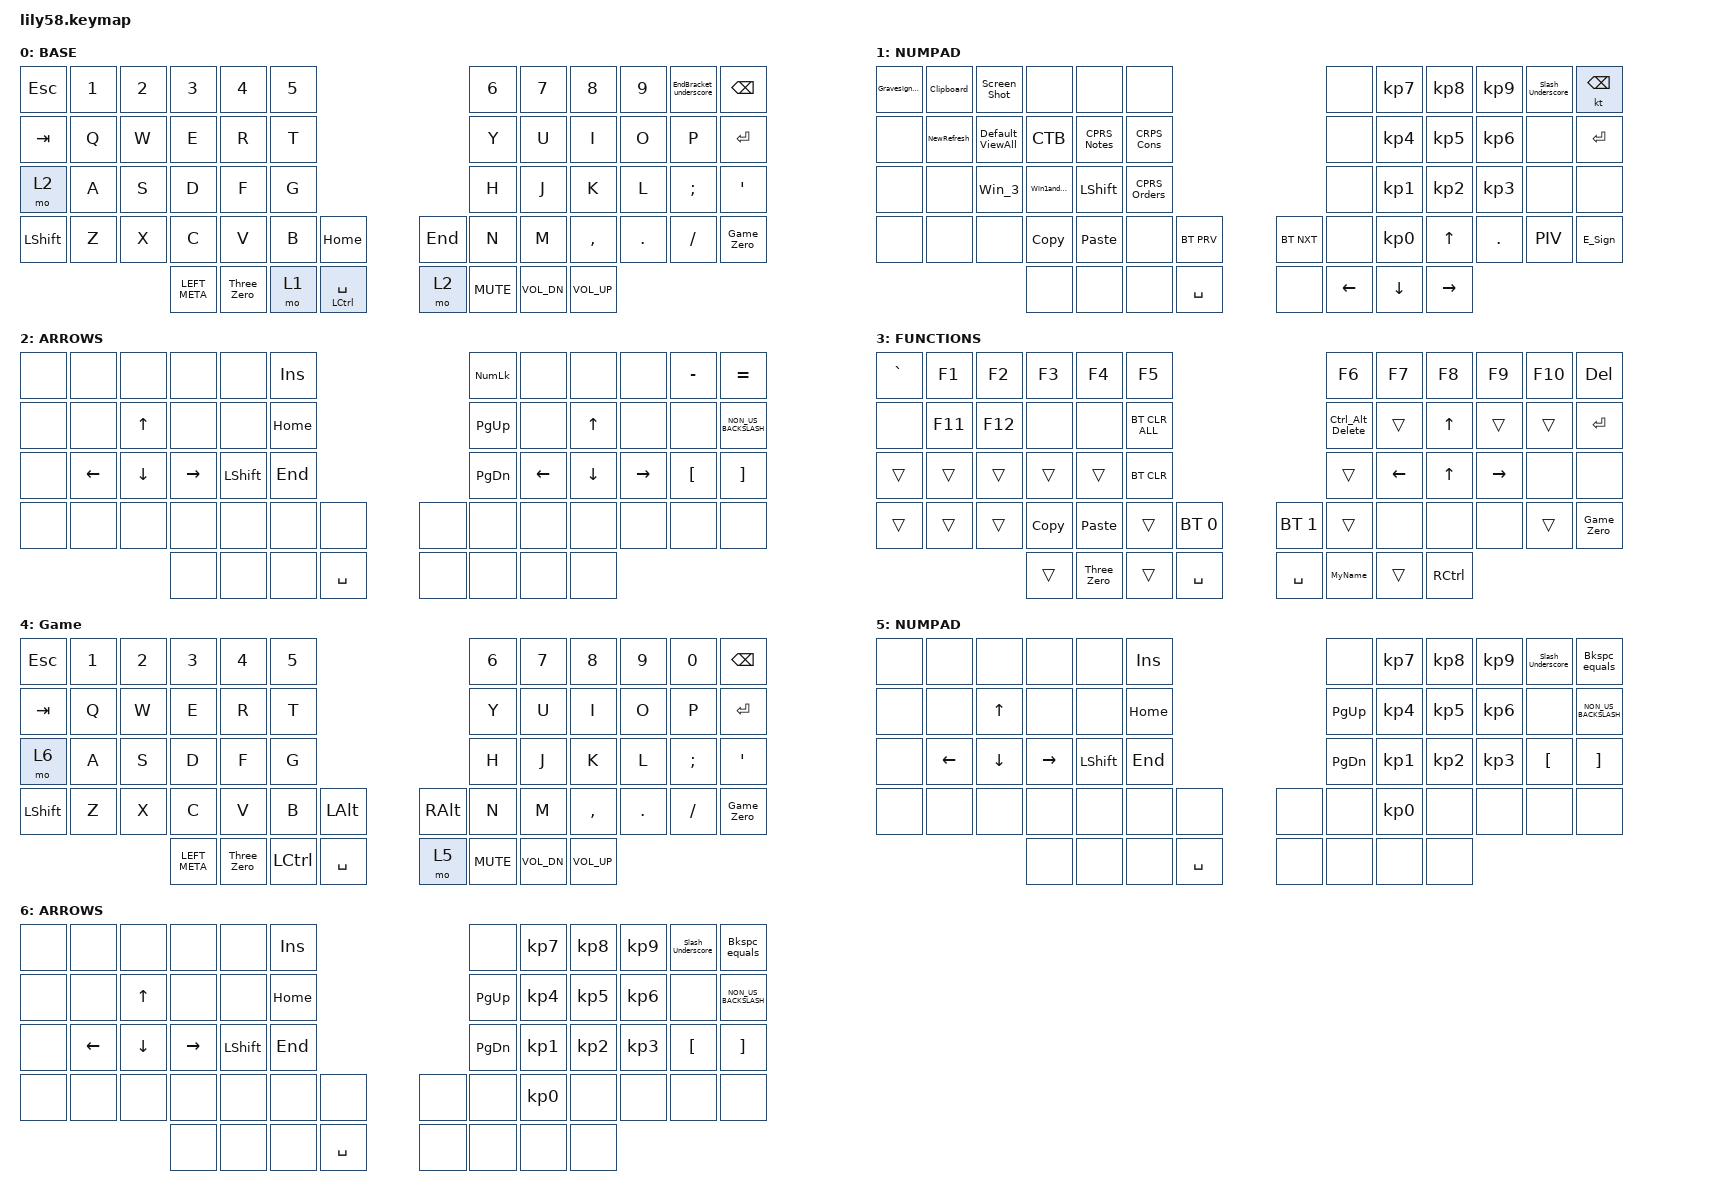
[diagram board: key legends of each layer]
/*
 * Copyright (c) 2020 The ZMK Contributors
 *
 * SPDX-License-Identifier: MIT
 */

#include <behaviors.dtsi>
#include <dt-bindings/zmk/bt.h>
#include <dt-bindings/zmk/keys.h>

/ {
    behaviors {
        Spaces_Ctrl: Spaces_Ctrl {
            compatible = "zmk,behavior-hold-tap";
            label = "SPACES_CTRL";
            bindings = <&kp>, <&kp>;

            #binding-cells = <2>;
            tapping-term-ms = <300>;
            flavor = "tap-preferred";
        };

        Gravesigntilde: Gravesigntilde {
            compatible = "zmk,behavior-tap-dance";
            label = "GRAVESIGNTILDE";
            #binding-cells = <0>;
            bindings = <&kp GRAVE>, <&kp TILDE>;
        };

        New_Refresh: New_Refresh {
            compatible = "zmk,behavior-tap-dance";
            label = "NEW_REFRESH";
            #binding-cells = <0>;
            bindings = <&NewPatient>, <&Refresh>;
        };

        Default_ViewAll: Default_ViewAll {
            compatible = "zmk,behavior-tap-dance";
            label = "DEFAULT_VIEWALL";
            #binding-cells = <0>;
            bindings = <&ViewAll>, <&DefaultView>;
        };

        CTB: CTB {
            compatible = "zmk,behavior-tap-dance";
            label = "CTB";
            #binding-cells = <0>;
            bindings = <&CPRS_CTB>, <&CTM_Comments>;
        };

        Notes_Orders: Notes_Orders {
            compatible = "zmk,behavior-tap-dance";
            label = "NOTES_ORDERS";
            #binding-cells = <0>;
            bindings = <&CPRS_Notes>, <&none>, <&CPRS_Orders>;
        };

        Win1andWin2: Win1andWin2 {
            compatible = "zmk,behavior-tap-dance";
            label = "WIN1ANDWIN2";
            #binding-cells = <0>;
            bindings = <&Win_1>, <&Win_2>;
        };

        Game_Zero: Game_Zero {
            compatible = "zmk,behavior-tap-dance";
            label = "GAME_ZERO";
            #binding-cells = <0>;
            bindings = <&to 0>, <&to 4>;
        };

        Three_Zero: Three_Zero {
            compatible = "zmk,behavior-tap-dance";
            label = "THREE_ZERO";
            #binding-cells = <0>;
            bindings = <&to 0>, <&to 3>;
        };

        NewRefresh: NewRefresh {
            compatible = "zmk,behavior-tap-dance";
            label = "NEWREFRESH";
            #binding-cells = <0>;
            bindings = <&NewPatient>, <&CRPS_Refresh>;
        };

        Slash_Underscore: Slash_Underscore {
            compatible = "zmk,behavior-tap-dance";
            label = "SLASH_UNDERSCORE";
            #binding-cells = <0>;
            bindings = <&kp SLASH>, <&kp MINUS>;
        };

        EndBracket_underscore: EndBracket_underscore {
            compatible = "zmk,behavior-tap-dance";
            label = "ENDBRACKET_UNDERSCORE";
            #binding-cells = <0>;
            bindings = <&kp N0>, <&kp MINUS>;
        };

        Bkspc_equals: Bkspc_equals {
            compatible = "zmk,behavior-tap-dance";
            label = "BKSPC_EQUALS";
            #binding-cells = <0>;
            bindings = <&kp BACKSPACE>, <&kp EQUAL>;
        };
    };

    combos {
        compatible = "zmk,combos";

        Refresh {
            bindings = <&kp F5>;
            key-positions = <4 5>;
        };

        Inventory {
            bindings = <&kp I>;
            key-positions = <28 29>;
        };

        Map {
            bindings = <&kp M>;
            key-positions = <40 41>;
        };

        F_one {
            bindings = <&kp F1>;
            key-positions = <1 2 3>;
        };

        Mute {
            bindings = <&kp C_MUTE>;
            key-positions = <56 57>;
        };

        FTwo {
            bindings = <&kp F2>;
            key-positions = <1 2>;
        };

        FThree {
            bindings = <&kp F2>;
            key-positions = <2 3>;
        };

        FFour {
            bindings = <&kp F4>;
            key-positions = <3 4>;
        };

        j {
            bindings = <&kp J>;
            key-positions = <16 17>;
        };
    };

    macros {
        Clipboard: Clipboard {
            compatible = "zmk,behavior-macro";
            #binding-cells = <0>;
            bindings =
                <&macro_press>,
                <&kp LEFT_WIN &kp V>,
                <&macro_release>,
                <&kp LEFT_WIN &kp V>;

            label = "CLIPBOARD";
        };

        NewPatient: NewPatient {
            compatible = "zmk,behavior-macro";
            #binding-cells = <0>;
            bindings =
                <&macro_press>,
                <&kp LEFT_ALT &kp F>,
                <&macro_release>,
                <&kp LEFT_ALT &kp F>,
                <&macro_press>,
                <&kp N>,
                <&macro_release>,
                <&kp N>;

            label = "NEWPATIENT";
        };

        Refresh: Refresh {
            compatible = "zmk,behavior-macro";
            #binding-cells = <0>;
            bindings =
                <&macro_press>,
                <&kp LEFT_ALT &kp F>,
                <&macro_release>,
                <&kp LEFT_ALT &kp F>,
                <&macro_tap>,
                <&kp I>;

            label = "REFRESH";
        };

        ViewAll: ViewAll {
            compatible = "zmk,behavior-macro";
            #binding-cells = <0>;
            bindings =
                <&macro_press>,
                <&kp LEFT_ALT &kp V>,
                <&macro_release>,
                <&kp LEFT_ALT &kp V>,
                <&macro_press>,
                <&kp A>,
                <&macro_release>,
                <&kp A>;

            label = "VIEWALL";
        };

        DefaultView: DefaultView {
            compatible = "zmk,behavior-macro";
            #binding-cells = <0>;
            bindings =
                <&macro_press>,
                <&kp LEFT_ALT &kp V>,
                <&macro_release>,
                <&kp LEFT_ALT &kp V>,
                <&macro_press>,
                <&kp F>,
                <&macro_release>,
                <&kp F>;

            label = "DEFAULTVIEW";
        };

        CPRS_CTB: CPRS_CTB {
            compatible = "zmk,behavior-macro";
            #binding-cells = <0>;
            bindings =
                <&macro_press>,
                <&kp LEFT_ALT &kp A>,
                <&macro_release>,
                <&kp LEFT_ALT &kp A>,
                <&macro_press>,
                <&kp C>,
                <&macro_release>,
                <&kp C>,
                <&macro_press>,
                <&kp A>,
                <&macro_release>,
                <&kp A>;

            label = "CPRS_CTB";
        };

        CTM_Comments: CTM_Comments {
            compatible = "zmk,behavior-macro";
            #binding-cells = <0>;
            bindings =
                <&macro_press>,
                <&kp LEFT_ALT &kp KP_NUMBER_1>,
                <&macro_release>,
                <&kp LEFT_ALT &kp KP_NUMBER_1>;

            label = "CTM_COMMENTS";
        };

        PIV: PIV {
            compatible = "zmk,behavior-macro";
            #binding-cells = <0>;
            bindings = <&kp N2 &kp N2 &kp N9 &kp N9 &kp N6 &kp N9>;
            label = "PIV";
        };

        E_Sign: E_Sign {
            compatible = "zmk,behavior-macro";
            #binding-cells = <0>;
            bindings = <&kp LS(C) &kp LS(V) &kp LS(A) &kp LS(L) &kp LS(D) &kp LS(E) &kp LS(Z) &kp N1>;
            label = "E_SIGN";
        };

        CPRS_Notes: CPRS_Notes {
            compatible = "zmk,behavior-macro";
            #binding-cells = <0>;
            bindings =
                <&macro_press>,
                <&kp LCTRL &kp N>,
                <&macro_release>,
                <&kp LCTRL &kp N>;

            label = "CPRS_NOTES";
        };

        CRPS_Cons: CRPS_Cons {
            compatible = "zmk,behavior-macro";
            #binding-cells = <0>;
            bindings =
                <&macro_press>,
                <&kp LCTRL &kp T>,
                <&macro_release>,
                <&kp LCTRL &kp T>;

            label = "CRPS_CONS";
        };

        CPRS_Orders: CPRS_Orders {
            compatible = "zmk,behavior-macro";
            #binding-cells = <0>;
            bindings =
                <&macro_press>,
                <&kp LCTRL &kp O>,
                <&macro_release>,
                <&kp LCTRL &kp O>;

            label = "CPRS_ORDERS";
        };

        Win_1: Win_1 {
            compatible = "zmk,behavior-macro";
            #binding-cells = <0>;
            bindings =
                <&macro_press>,
                <&kp LEFT_WIN &kp NUMBER_1>,
                <&macro_release>,
                <&kp LEFT_WIN &kp NUMBER_1>;

            label = "WIN_1";
        };

        Win_2: Win_2 {
            compatible = "zmk,behavior-macro";
            #binding-cells = <0>;
            bindings =
                <&macro_press>,
                <&kp LEFT_WIN &kp NUMBER_2>,
                <&macro_release>,
                <&kp LEFT_WIN &kp NUMBER_2>;

            label = "WIN_2";
        };

        CRPS_Refresh: CRPS_Refresh {
            compatible = "zmk,behavior-macro";
            #binding-cells = <0>;
            bindings =
                <&macro_press>,
                <&kp LEFT_ALT &kp F>,
                <&macro_release>,
                <&kp LEFT_ALT &kp F>,
                <&macro_tap>,
                <&kp I>,
                <&macro_release>,
                <&kp I>;

            label = "CRPS_REFRESH";
        };

        MyName: MyName {
            compatible = "zmk,behavior-macro";
            #binding-cells = <0>;
            bindings = <&kp LS(C) &kp H &kp R &kp I &kp S>;
            label = "MYNAME";
        };

        Copy: Copy {
            compatible = "zmk,behavior-macro";
            #binding-cells = <0>;
            bindings =
                <&macro_press>,
                <&kp LCTRL &kp C>,
                <&macro_release>,
                <&kp LCTRL &kp C>;

            label = "COPY";
        };

        Paste: Paste {
            compatible = "zmk,behavior-macro";
            #binding-cells = <0>;
            bindings =
                <&macro_press>,
                <&kp LCTRL &kp V>,
                <&macro_release>,
                <&kp LCTRL &kp V>;

            label = "PASTE";
        };

        Ctrl_Alt_Delete: Ctrl_Alt_Delete {
            compatible = "zmk,behavior-macro";
            #binding-cells = <0>;
            bindings =
                <&macro_press>,
                <&kp LCTRL &kp LEFT_ALT &kp DELETE>,
                <&macro_release>,
                <&kp LCTRL &kp LEFT_ALT &kp DELETE>;

            label = "CTRL_ALT_DELETE";
        };

        Screen_Shot: Screen_Shot {
            compatible = "zmk,behavior-macro";
            #binding-cells = <0>;
            bindings =
                <&macro_press>,
                <&kp LEFT_WIN &kp LEFT_SHIFT &kp S>,
                <&macro_release>,
                <&kp LEFT_WIN &kp LEFT_SHIFT &kp S>;

            label = "SCREEN_SHOT";
        };

        Win_3: Win_3 {
            compatible = "zmk,behavior-macro";
            #binding-cells = <0>;
            bindings =
                <&macro_press>,
                <&kp LEFT_WIN &kp NUMBER_3>,
                <&macro_release>,
                <&kp LEFT_WIN &kp NUMBER_3>;

            label = "WIN_3";
        };
    };

    keymap {
        compatible = "zmk,keymap";

        Zero {
            // ------------------------------------------------------------------------------------------------------------
            // |  ESC  |  1  |  2  |  3   |  4   |  5   |                   |  6   |  7    |  8    |  9   |   0   |   `   |
            // |  TAB  |  Q  |  W  |  E   |  R   |  T   |                   |  Y   |  U    |  I    |  O   |   P   |   -   |
            // |  CTRL |  A  |  S  |  D   |  F   |  G   |                   |  H   |  J    |  K    |  L   |   ;   |   '   |
            // | SHIFT |  Z  |  X  |  C   |  V   |  B   |   "["  |  |  "]"  |  N   |  M    |  ,    |  .   |   /   | SHIFT |
            //                     | ALT  | GUI  | LOWER|  SPACE |  | ENTER | RAISE| BSPC  | GUI   |

            display-name = "BASE";
            bindings = <
&kp ESC    &kp N1  &kp N2  &kp N3         &kp N4       &kp N5                                       &kp N6      &kp N7        &kp N8           &kp N9   &EndBracket_underscore  &kp BACKSPACE
&kp TAB    &kp Q   &kp W   &kp E          &kp R        &kp T                                        &kp Y       &kp U         &kp I            &kp O    &kp P                   &kp ENTER
&mo 2      &kp A   &kp S   &kp D          &kp F        &kp G                                        &kp H       &kp J         &kp K            &kp L    &kp SEMI                &kp SQT
&kp LSHFT  &kp Z   &kp X   &kp C          &kp V        &kp B   &kp HOME                    &kp END  &kp N       &kp M         &kp COMMA        &kp DOT  &kp FSLH                &Game_Zero
                           &kp LEFT_META  &Three_Zero  &mo 1   &Spaces_Ctrl LCTRL SPACE    &mo 2    &kp C_MUTE  &kp C_VOL_DN  &kp C_VOLUME_UP
            >;
        };

        One {
            // ------------------------------------------------------------------------------------------------------------
            // | BTCLR | BT1 | BT2 |  BT3 |  BT4 |  BT5 |                   |      |       |       |      |       |       |
            // |  F1   |  F2 |  F3 |  F4  |  F5  |  F6  |                   |  F7  |  F8   |  F9   |  F10 |  F11  |  F12  |
            // |   `   |  !  |  @  |  #   |  $   |  %   |                   |  ^   |  &    |  *    |  (   |   )   |   ~   |
            // |       |     |     |      |      |      |        |  |       |      |  _    |  +    |  {   |   }   |  "|"  |
            //                     |      |      |      |        |  |       |      |       |       |

            display-name = "NUMPAD";
            bindings = <
&Gravesigntilde  &Clipboard   &Screen_Shot      &none         &none           &none                                   &none           &kp KP_NUMBER_7  &kp KP_NUMBER_8  &kp KP_NUMBER_9  &Slash_Underscore  &kt BACKSPACE
&none            &NewRefresh  &Default_ViewAll  &CTB          &CPRS_Notes     &CRPS_Cons                              &none           &kp KP_NUMBER_4  &kp KP_NUMBER_5  &kp KP_NUMBER_6  &none              &kp ENTER
&none            &none        &Win_3            &Win1andWin2  &kp LEFT_SHIFT  &CPRS_Orders                            &none           &kp KP_NUMBER_1  &kp KP_NUMBER_2  &kp KP_NUMBER_3  &none              &none
&none            &none        &none             &Copy         &Paste          &none         &bt BT_PRV    &bt BT_NXT  &none           &kp KP_NUMBER_0  &kp UP_ARROW     &kp PERIOD       &PIV               &E_Sign
                                                &none         &none           &none         &kp SPACE     &none       &kp LEFT_ARROW  &kp DOWN         &kp RIGHT
            >;
        };

        Two {
            // ------------------------------------------------------------------------------------------------------------
            // |       |     |     |      |      |      |                   |      |       |       |      |       |       |
            // |   `   |  1  |  2  |  3   |  4   |  5   |                   |  6   |   7   |   8   |  9   |   0   |       |
            // |   F1  |  F2 |  F3 |  F4  |  F5  |  F6  |                   |      |   <-  |   v   |  ^   |  ->   |       |
            // |   F7  |  F8 |  F9 |  F10 |  F11 |  F12 |        |  |       |  +   |   -   |   =   |  [   |   ]   |   \   |
            //                     |      |      |      |        |  |       |      |       |       |

            display-name = "ARROWS";
            bindings = <
&none  &none     &none           &none      &none           &kp INSERT                      &kp KP_NUMLOCK  &none     &none           &none      &kp MINUS         &kp EQUAL
&none  &none     &kp UP_ARROW    &none      &none           &kp HOME                        &kp PG_UP       &none     &kp UP_ARROW    &none      &none             &kp NON_US_BACKSLASH
&none  &kp LEFT  &kp DOWN_ARROW  &kp RIGHT  &kp LEFT_SHIFT  &kp END                         &kp PAGE_DOWN   &kp LEFT  &kp DOWN_ARROW  &kp RIGHT  &kp LEFT_BRACKET  &kp RIGHT_BRACKET
&none  &none     &none           &none      &none           &none       &none        &none  &none           &none     &none           &none      &none             &none
                                 &none      &none           &none       &kp SPACE    &none  &none           &none     &none
            >;
        };

        Three {
            display-name = "FUNCTIONS";
            bindings = <
&kp GRAVE  &kp F1   &kp F2   &kp F3  &kp F4       &kp F5                                        &kp F6            &kp F7    &kp F8        &kp F9     &kp F10  &kp DELETE
&none      &kp F11  &kp F12  &none   &none        &bt BT_CLR_ALL                                &Ctrl_Alt_Delete  &trans    &kp UP        &trans     &trans   &kp ENTER
&trans     &trans   &trans   &trans  &trans       &bt BT_CLR                                    &trans            &kp LEFT  &kp UP_ARROW  &kp RIGHT  &none    &none
&trans     &trans   &trans   &Copy   &Paste       &trans          &bt BT_SEL 0    &bt BT_SEL 1  &trans            &none     &none         &none      &trans   &Game_Zero
                             &trans  &Three_Zero  &trans          &kp SPACE       &kp SPACE     &MyName           &trans    &kp RCTRL
            >;
        };

        Four {
            display-name = "Game";
            bindings = <
&kp ESC    &kp N1  &kp N2  &kp N3         &kp N4       &kp N5                                    &kp N6      &kp N7        &kp N8           &kp N9   &kp N0    &kp BACKSPACE
&kp TAB    &kp Q   &kp W   &kp E          &kp R        &kp T                                     &kp Y       &kp U         &kp I            &kp O    &kp P     &kp ENTER
&mo 6      &kp A   &kp S   &kp D          &kp F        &kp G                                     &kp H       &kp J         &kp K            &kp L    &kp SEMI  &kp SQT
&kp LSHFT  &kp Z   &kp X   &kp C          &kp V        &kp B      &kp LEFT_ALT    &kp RIGHT_ALT  &kp N       &kp M         &kp COMMA        &kp DOT  &kp FSLH  &Game_Zero
                           &kp LEFT_META  &Three_Zero  &kp LCTRL  &kp SPACE       &mo 5          &kp C_MUTE  &kp C_VOL_DN  &kp C_VOLUME_UP
            >;
        };

        Five {
            display-name = "NUMPAD";
            bindings = <
&none  &none     &none           &none      &none           &kp INSERT                      &none          &kp KP_NUMBER_7  &kp KP_NUMBER_8  &kp KP_NUMBER_9  &Slash_Underscore  &Bkspc_equals
&none  &none     &kp UP_ARROW    &none      &none           &kp HOME                        &kp PG_UP      &kp KP_NUMBER_4  &kp KP_NUMBER_5  &kp KP_NUMBER_6  &none              &kp NON_US_BACKSLASH
&none  &kp LEFT  &kp DOWN_ARROW  &kp RIGHT  &kp LEFT_SHIFT  &kp END                         &kp PAGE_DOWN  &kp KP_NUMBER_1  &kp KP_NUMBER_2  &kp KP_NUMBER_3  &kp LEFT_BRACKET   &kp RIGHT_BRACKET
&none  &none     &none           &none      &none           &none       &none        &none  &none          &kp KP_NUMBER_0  &none            &none            &none              &none
                                 &none      &none           &none       &kp SPACE    &none  &none          &none            &none
            >;
        };

        Six {
            display-name = "ARROWS";
            bindings = <
&none  &none     &none           &none      &none           &kp INSERT                      &none          &kp KP_NUMBER_7  &kp KP_NUMBER_8  &kp KP_NUMBER_9  &Slash_Underscore  &Bkspc_equals
&none  &none     &kp UP_ARROW    &none      &none           &kp HOME                        &kp PG_UP      &kp KP_NUMBER_4  &kp KP_NUMBER_5  &kp KP_NUMBER_6  &none              &kp NON_US_BACKSLASH
&none  &kp LEFT  &kp DOWN_ARROW  &kp RIGHT  &kp LEFT_SHIFT  &kp END                         &kp PAGE_DOWN  &kp KP_NUMBER_1  &kp KP_NUMBER_2  &kp KP_NUMBER_3  &kp LEFT_BRACKET   &kp RIGHT_BRACKET
&none  &none     &none           &none      &none           &none       &none        &none  &none          &kp KP_NUMBER_0  &none            &none            &none              &none
                                 &none      &none           &none       &kp SPACE    &none  &none          &none            &none
            >;
        };
    };
};
